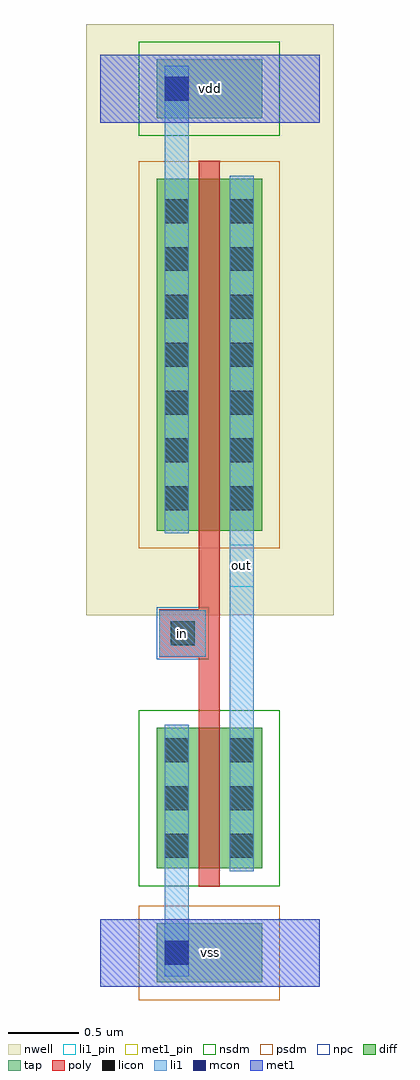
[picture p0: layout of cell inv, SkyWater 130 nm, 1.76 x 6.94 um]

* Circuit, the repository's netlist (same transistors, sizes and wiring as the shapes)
* NGSPICE file created from inv.ext - technology: sky130A

.subckt inv in out vdd vss
X0 out in vdd vdd sky130_fd_pr__pfet_01v8 ad=0.75 pd=5.6 as=0.75 ps=5.6 w=2.5 l=0.15
X1 out in vss vss sky130_fd_pr__nfet_01v8 ad=0.3 pd=2.6 as=0.3 ps=2.6 w=1 l=0.15
.ends

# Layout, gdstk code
import gdstk
lib = gdstk.Library(unit=1e-6, precision=1e-09)
def R(c, l, rs):  # rectangles x0, y0, x1, y1
    for r in rs: c.add(gdstk.rectangle(r[:2], r[2:], *l))
def A(c, l, x, y, w, h, nx, ny, dx, dy):  # array of equal rectangles
    R(c, l, [(x+i*dx, y+j*dy, x+i*dx+w, y+j*dy+h) for i in range(nx) for j in range(ny)])
nwell = (64, 20)
diff = (65, 20)
tap = (65, 44)
poly = (66, 20)
licon = (66, 44)
li1_pin = (67, 16)
li1 = (67, 20)
mcon = (67, 44)
met1_pin = (68, 16)
met1 = (68, 20)
nsdm = (93, 44)
psdm = (94, 20)
npc = (95, 20)

inv = lib.new_cell('inv')
R(inv, nwell, [(-0.1,2.4,1.66,6.6)])
R(inv, diff, [(0.4,0.6,1.15,1.6), (0.4,3,1.15,5.5)])
R(inv, tap, [(0.4,-0.21,1.15,0.21), (0.4,5.93,1.15,6.35)])
R(inv, poly, [(0.7,0.47,0.85,2.1), (0.42,2.1,0.85,2.44), (0.7,2.44,0.85,5.63)])
A(inv, licon, 0.46, 0.675, 0.17, 0.17, 1, 3, 0, 0.34)
A(inv, licon, 0.92, 0.675, 0.17, 0.17, 1, 3, 0, 0.34)
A(inv, licon, 0.46, 3.145, 0.17, 0.17, 1, 7, 0, 0.34)
A(inv, licon, 0.92, 3.145, 0.17, 0.17, 1, 7, 0, 0.34)
R(inv, licon, [(0.46,-0.085,0.63,0.085), (0.5,2.185,0.67,2.355), (0.46,6.055,0.63,6.225)])
R(inv, li1_pin, [(0.42,2.105,0.75,2.435), (0.92,2.6,1.09,2.9)])
R(inv, li1, [(0.46,-0.165,0.63,1.62), (0.92,0.58,1.09,5.52), (0.42,2.105,0.75,2.435), (0.46,2.98,0.63,6.305)])
R(inv, mcon, [(0.46,-0.085,0.63,0.085), (0.46,6.055,0.63,6.225)])
R(inv, met1_pin, [(0,-0.24,1.56,0.24), (0,5.9,1.56,6.38)])
R(inv, met1, [(0,-0.24,1.56,0.24), (0,5.9,1.56,6.38)])
R(inv, nsdm, [(0.275,0.475,1.275,1.725), (0.275,5.805,1.275,6.475)])
R(inv, psdm, [(0.275,-0.335,1.275,0.335), (0.275,2.875,1.275,5.625)])
R(inv, npc, [(0.4,2.085,0.77,2.455)])
inv.add(gdstk.Label('in', (0.585,2.27), layer=67, texttype=5))
inv.add(gdstk.Label('out', (1.005,2.75), layer=67, texttype=5))
inv.add(gdstk.Label('vdd', (0.78,6.14), layer=68, texttype=5))
inv.add(gdstk.Label('vss', (0.78,0), layer=68, texttype=5))

lib.write_gds('inv.gds')
